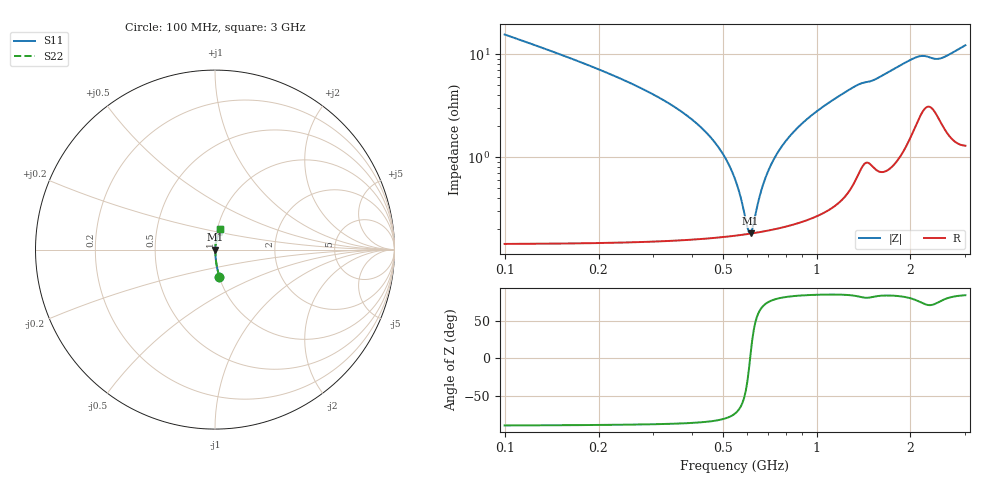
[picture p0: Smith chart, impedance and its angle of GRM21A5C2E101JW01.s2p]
!Murata Part Number: GRM21A5C2E101JW01
!These Parameters are Measured in Series Mode Connection
!Data Generated on Mar 30, 2021
!  o--ll--o
!Port1  Port2
!  o------o
!Operation Temp=25[degC], DC Bias Voltage=0[V]
!Freq. Start=100[MHz] Stop=3[GHz] 401[Steps]
# Hz S RI R 50
!Freq.(Hz) S11(Real) S11(Imag) S21(Real) S21(Imag) S12(Real) S12(Imag) S22(Real) S22(Imag)
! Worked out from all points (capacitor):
!   401 points, 100 MHz to 3 GHz, reference 50 ohm
!   read as one part in series: C = 99.9 pF near 114.5 MHz
!   lowest |Z| = 182 mohm at 614.8 MHz (marker M1)
!   series resonance near 612.4 MHz, so ESL is about 680 pH
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1e8  0.0248 -0.1509  0.9752 0.1509  0.9752 0.1509  0.0248 -0.1509
1.9425e8  0.00685 -0.0732  0.9931 0.0732  0.9931 0.0732  0.00685 -0.0732
3.9e8  0.00216 -0.0243  0.9978 0.0243  0.9978 0.0243  0.00216 -0.0243
4.6975e8  0.00184 -0.014  0.9982 0.014  0.9982 0.014  0.00184 -0.014
5.35e8  0.00176 -0.00709  0.9982 0.00709  0.9982 0.00709  0.00176 -0.00709
5.64e8  0.00176 -0.00432  0.9982 0.00432  0.9982 0.00432  0.00176 -0.00432
5.8575e8  0.00177 -0.00233  0.9982 0.00233  0.9982 0.00233  0.00177 -0.00233
6.0025e8  0.00179 -0.00105  0.9982 0.00105  0.9982 0.00105  0.00179 -0.00105
6.1475e8  0.00181 0.000202  0.9982 -0.000202  0.9982 -0.000202  0.00181 0.000202
6.2925e8  0.00183 0.00143  0.9982 -0.00143  0.9982 -0.00143  0.00183 0.00143
6.5825e8  0.00188 0.0038  0.9981 -0.0038  0.9981 -0.0038  0.00188 0.0038
6.8725e8  0.00195 0.00609  0.9981 -0.00609  0.9981 -0.00609  0.00195 0.00609
7.1625e8  0.00203 0.00829  0.998 -0.00829  0.998 -0.00829  0.00203 0.00829
7.5975e8  0.00217 0.0115  0.9978 -0.0115  0.9978 -0.0115  0.00217 0.0115
8.83e8  0.0027 0.0199  0.9973 -0.0199  0.9973 -0.0199  0.0027 0.0199
1.0715e9  0.00396 0.0319  0.996 -0.0319  0.996 -0.0319  0.00396 0.0319
1.3325e9  0.00822 0.0479  0.9918 -0.0479  0.9918 -0.0479  0.00822 0.0479
1.55e9  0.0106 0.0558  0.9894 -0.0558  0.9894 -0.0558  0.0106 0.0558
2.03575e9  0.0245 0.0849  0.9755 -0.0849  0.9755 -0.0849  0.0245 0.0849
2.1735e9  0.0338 0.0867  0.9662 -0.0867  0.9662 -0.0867  0.0338 0.0867
2.5215e9  0.0278 0.0851  0.9722 -0.0851  0.9722 -0.0851  0.0278 0.0851
3e9  0.0266 0.1164  0.9734 -0.1164  0.9734 -0.1164  0.0266 0.1164
